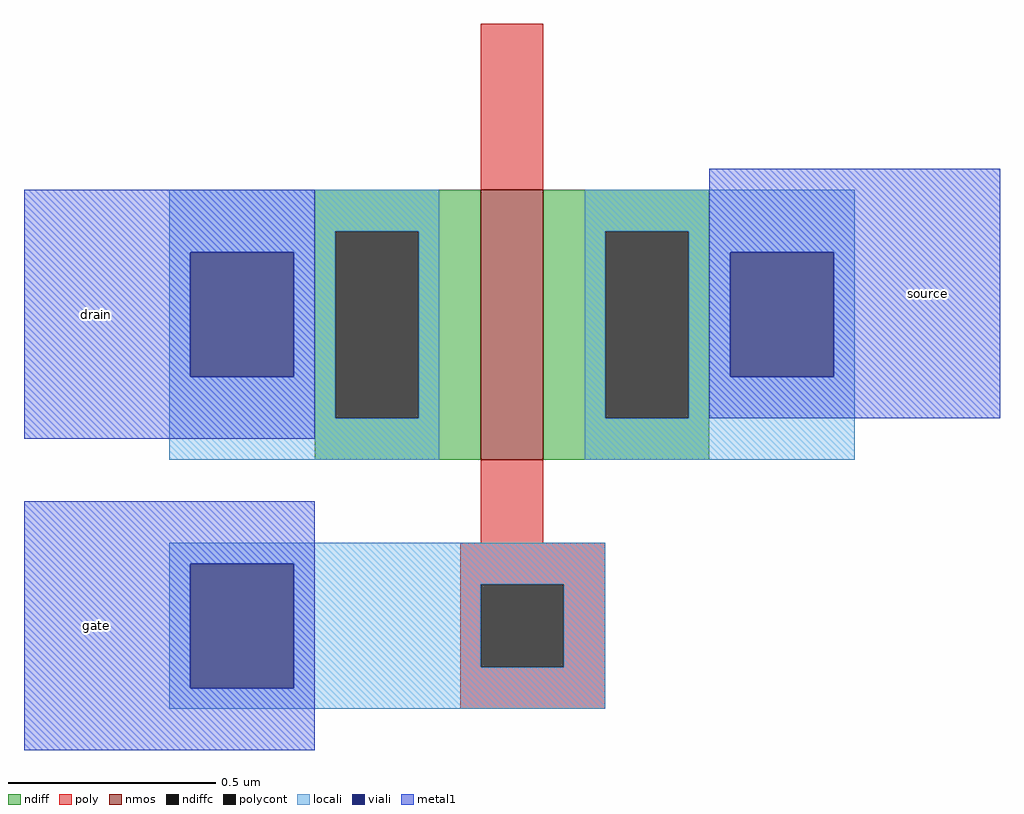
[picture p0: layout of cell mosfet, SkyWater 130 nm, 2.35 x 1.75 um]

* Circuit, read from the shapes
.subckt mosfet gate drain source
XM1 source gate drain VSUBS sky130_fd_pr__nfet_01v8 w=0.65 l=0.15
.ends

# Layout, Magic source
magic
tech sky130A
<< nmos >>
rect 40 0 55 65
<< ndiff >>
rect 0 55 40 65
rect 0 10 5 55
rect 25 10 40 55
rect 0 0 40 10
rect 55 55 95 65
rect 55 10 70 55
rect 90 10 95 55
rect 55 0 95 10
<< ndiffc >>
rect 5 10 25 55
rect 70 10 90 55
<< poly >>
rect 40 65 55 105
rect 40 -20 55 0
rect 35 -30 70 -20
rect 35 -50 40 -30
rect 60 -50 70 -30
rect 35 -60 70 -50
<< polycont >>
rect 40 -50 60 -30
<< locali >>
rect -35 55 30 65
rect -35 50 5 55
rect -35 20 -30 50
rect -5 20 5 50
rect -35 10 5 20
rect 25 10 30 55
rect -35 0 30 10
rect 65 55 130 65
rect 65 10 70 55
rect 90 50 130 55
rect 90 20 100 50
rect 125 20 130 50
rect 90 10 130 20
rect 65 0 130 10
rect -35 -25 70 -20
rect -35 -55 -30 -25
rect -5 -30 70 -25
rect -5 -50 40 -30
rect 60 -50 70 -30
rect -5 -55 70 -50
rect -35 -60 70 -55
<< viali >>
rect -30 20 -5 50
rect 100 20 125 50
rect -30 -55 -5 -25
<< metal1 >>
rect -70 50 0 65
rect -70 20 -30 50
rect -5 20 0 50
rect -70 5 0 20
rect 95 50 165 70
rect 95 20 100 50
rect 125 20 165 50
rect 95 10 165 20
rect -70 -25 0 -10
rect -70 -55 -30 -25
rect -5 -55 0 -25
rect -70 -70 0 -55
<< labels >>
flabel metal1 -65 -60 -40 -20 0 FreeSans 80 0 0 0 gate
port 1 nsew
flabel metal1 -65 15 -40 55 0 FreeSans 80 0 0 0 drain
port 2 nsew
flabel metal1 135 20 160 60 0 FreeSans 80 0 0 0 source
port 4 nsew
<< end >>
